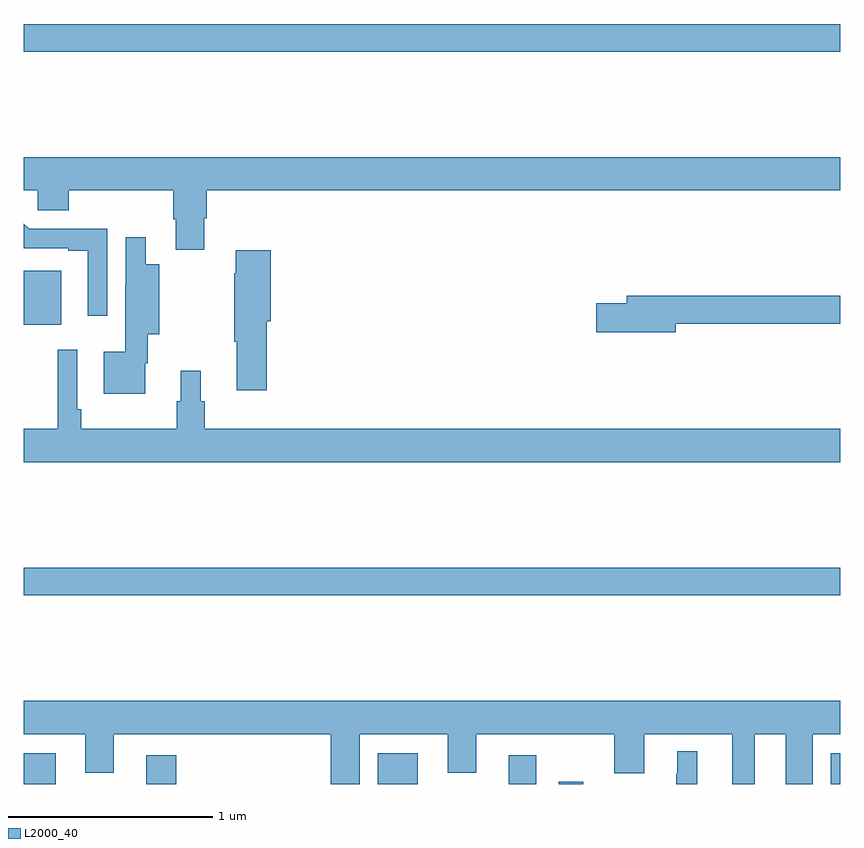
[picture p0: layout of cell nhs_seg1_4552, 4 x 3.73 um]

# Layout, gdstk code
import gdstk
lib = gdstk.Library(unit=1e-6, precision=1e-09)
def R(c, l, rs):  # rectangles x0, y0, x1, y1
    for r in rs: c.add(gdstk.rectangle(r[:2], r[2:], *l))
def P(c, l, *ps):  # polygons
    for p in ps: c.add(gdstk.Polygon(p, *l))
L2000_40 = (2000, 40)

nhs_seg1_4552 = lib.new_cell('nhs_seg1_4552')
R(nhs_seg1_4552, L2000_40, [(359,506.199,359.155,506.35), (359.6,506.199,359.747,506.341), (360.735,506.199,360.931,506.35), (361.376,506.199,361.51,506.341), (361.622,506.199,361.741,506.209), (362.955,506.199,363,506.35), (359,507.124,363,507.26), (359,508.451,359.182,508.714), (359,509.788,363,509.924)])
P(nhs_seg1_4552, L2000_40, [(359.884,508.971),(359.897,508.971),(359.897,509.108),(363,509.108),(363,509.272),(359,509.272),(359,509.108),(359.067,509.108),(359.067,509.01),(359.219,509.01),(359.219,509.108),(359.732,509.108),(359.732,508.966),(359.744,508.966),(359.744,508.818),(359.884,508.818)],
  [(359.409,508.92),(359.025,508.92),(359,508.945),(359,508.824),(359.216,508.824),(359.216,508.812),(359.312,508.812),(359.312,508.494),(359.409,508.494)],
  [(359.595,508.262),(359.608,508.262),(359.608,508.403),(359.664,508.403),(359.664,508.747),(359.596,508.747),(359.596,508.879),(359.498,508.879),(359.498,508.643),(359.497,508.643),(359.497,508.318),(359.39,508.318),(359.39,508.112),(359.595,508.112)],
  [(360.191,508.467),(360.209,508.467),(360.209,508.816),(360.038,508.816),(360.038,508.703),(360.031,508.703),(360.031,508.367),(360.044,508.367),(360.044,508.128),(360.191,508.128)],
  [(362.194,508.456),(363,508.456),(363,508.592),(361.955,508.592),(361.955,508.556),(361.806,508.556),(361.806,508.414),(362.194,508.414)],
  [(363,507.94),(359.885,507.94),(359.885,508.074),(359.866,508.074),(359.866,508.225),(359.768,508.225),(359.768,508.074),(359.749,508.074),(359.749,507.94),(359.282,507.94),(359.282,508.036),(359.262,508.036),(359.262,508.327),(359.165,508.327),(359.165,507.94),(359,507.94),(359,507.776),(363,507.776)],
  [(360.646,506.444),(361.076,506.444),(361.076,506.254),(361.216,506.254),(361.216,506.444),(361.894,506.444),(361.894,506.252),(362.041,506.252),(362.041,506.444),(362.471,506.444),(362.471,506.199),(362.581,506.199),(362.581,506.444),(362.735,506.444),(362.735,506.199),(362.866,506.199),(362.866,506.444),(363,506.444),(363,506.608),(359,506.608),(359,506.444),(359.3,506.444),(359.3,506.254),(359.44,506.254),(359.44,506.444),(360.503,506.444),(360.503,506.199),(360.646,506.199)],
  [(362.299,506.359),(362.201,506.359),(362.201,506.249),(362.197,506.249),(362.197,506.199),(362.299,506.199)])

lib.write_gds('nhs_seg1_4552.gds')
